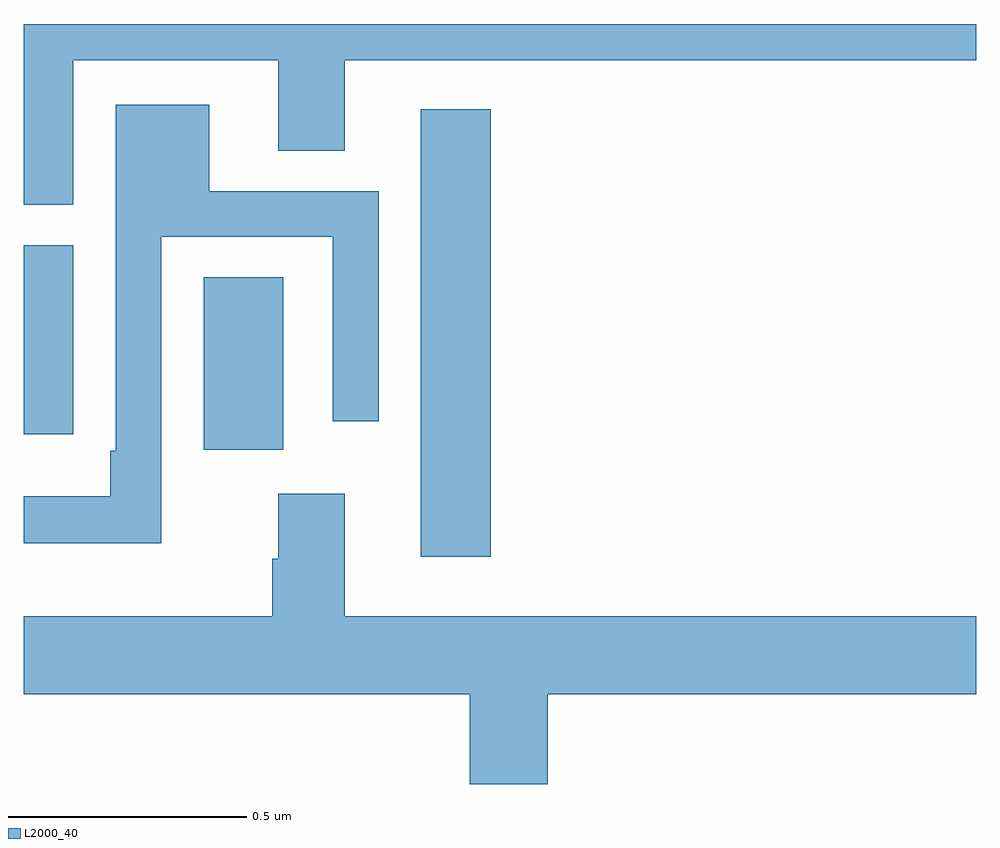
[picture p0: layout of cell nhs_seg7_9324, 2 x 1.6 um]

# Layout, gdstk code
import gdstk
lib = gdstk.Library(unit=1e-6, precision=1e-09)
def R(c, l, rs):  # rectangles x0, y0, x1, y1
    for r in rs: c.add(gdstk.rectangle(r[:2], r[2:], *l))
def P(c, l, *ps):  # polygons
    for p in ps: c.add(gdstk.Polygon(p, *l))
L2000_40 = (2000, 40)

nhs_seg7_9324 = lib.new_cell('nhs_seg7_9324')
R(nhs_seg7_9324, L2000_40, [(236.834,1024.881,236.981,1025.821), (236.378,1025.106,236.545,1025.468), (236,1025.139,236.104,1025.535)])
P(nhs_seg7_9324, L2000_40, [(236.104,1025.924),(236.534,1025.924),(236.534,1025.734),(236.674,1025.734),(236.674,1025.924),(238,1025.924),(238,1026),(236,1026),(236,1025.62),(236.104,1025.62)],
  [(236.289,1025.553),(236.649,1025.553),(236.649,1025.166),(236.745,1025.166),(236.745,1025.649),(236.389,1025.649),(236.389,1025.83),(236.193,1025.83),(236.193,1025.104),(236.181,1025.104),(236.181,1025.008),(236,1025.008),(236,1024.91),(236.289,1024.91)],
  [(237.1,1024.592),(238,1024.592),(238,1024.756),(236.674,1024.756),(236.674,1025.014),(236.534,1025.014),(236.534,1024.877),(236.522,1024.877),(236.522,1024.756),(236,1024.756),(236,1024.592),(236.936,1024.592),(236.936,1024.404),(237.1,1024.404)])

lib.write_gds('nhs_seg7_9324.gds')
